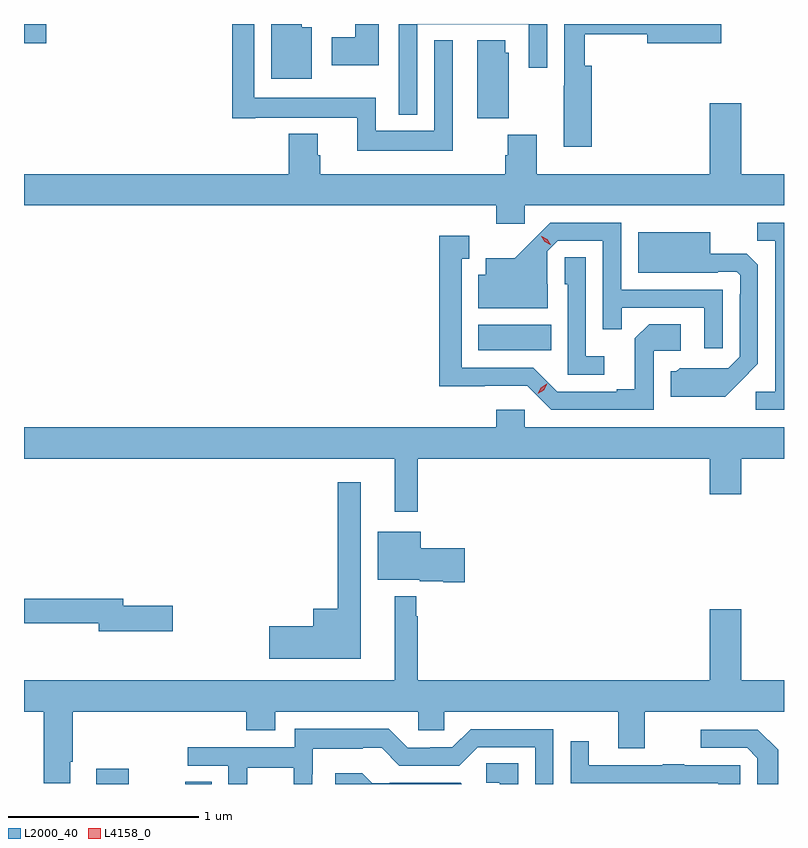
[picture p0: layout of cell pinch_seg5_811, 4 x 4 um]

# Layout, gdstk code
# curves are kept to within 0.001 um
import gdstk
lib = gdstk.Library(unit=1e-6, precision=1e-09)
def R(c, l, rs):  # rectangles x0, y0, x1, y1
    for r in rs: c.add(gdstk.rectangle(r[:2], r[2:], *l))
def P(c, l, *ps):  # polygons
    for p in ps: c.add(gdstk.Polygon(p, *l))
L2000_40 = (2000, 40)
L4158_0 = (4158, 0)

pinch_seg5_811 = lib.new_cell('pinch_seg5_811')
R(pinch_seg5_811, L2000_40, [(761.177,879.023,761.35,879.103), (761.647,879.023,761.785,879.035), (763.19,881.306,763.574,881.44), (760.798,882.923,760.915,883.023)])
P(pinch_seg5_811, L2000_40, [(762.664,883.023),(762.542,883.023),(762.542,882.954),(762.417,882.954),(762.417,882.806),(762.664,882.806)],
  [(762.867,883.022),(763.455,883.022),(763.455,882.792),(763.551,882.792),(763.551,883.023),(762.771,883.023),(762.771,882.545),(762.867,882.545)],
  [(763.787,882.802),(763.75,882.802),(763.75,882.97),(764.078,882.97),(764.078,882.923),(764.467,882.923),(764.467,883.023),(763.641,883.023),(763.641,882.698),(763.64,882.698),(763.64,882.378),(763.787,882.378)],
  [(763.054,882.937),(762.957,882.937),(762.957,882.46),(762.648,882.46),(762.648,882.634),(762.009,882.634),(762.009,883.023),(761.893,883.023),(761.893,882.528),(762.016,882.528),(762.016,882.53),(762.551,882.53),(762.551,882.356),(763.054,882.356)],
  [(762.313,883.006),(762.259,883.006),(762.259,883.023),(762.098,883.023),(762.098,882.734),(762.313,882.734)],
  [(763.348,882.873),(763.33,882.873),(763.33,882.937),(763.184,882.937),(763.184,882.526),(763.348,882.526)],
  [(763.434,882.068),(764.798,882.068),(764.798,882.232),(764.572,882.232),(764.572,882.607),(764.408,882.607),(764.408,882.232),(763.496,882.232),(763.496,882.441),(763.343,882.441),(763.343,882.332),(763.331,882.332),(763.331,882.232),(762.356,882.232),(762.356,882.333),(762.343,882.333),(762.343,882.445),(762.191,882.445),(762.191,882.232),(760.798,882.232),(760.798,882.068),(763.283,882.068),(763.283,881.973),(763.434,881.973)],
  [(764.475,881.625),(763.941,881.625),(763.941,881.976),(763.568,881.976),(763.381,881.791),(763.229,881.791),(763.229,881.704),(763.19,881.704),(763.19,881.528),(763.555,881.528),(763.555,881.652),(763.551,881.652),(763.551,881.826),(763.608,881.883),(763.845,881.883),(763.845,881.416),(763.943,881.416),(763.943,881.529),(764.379,881.529),(764.379,881.316),(764.475,881.316)],
  [(764.798,881.976),(764.656,881.976),(764.656,881.881),(764.751,881.881),(764.751,881.088),(764.649,881.088),(764.649,880.992),(764.798,880.992)],
  [(764.569,881.141),(764.661,881.234),(764.661,881.756),(764.602,881.815),(764.41,881.815),(764.41,881.926),(764.03,881.926),(764.03,881.714),(764.45,881.714),(764.45,881.718),(764.55,881.718),(764.568,881.7),(764.568,881.6),(764.565,881.6),(764.565,881.271),(764.505,881.211),(764.248,881.212),(764.232,881.196),(764.201,881.196),(764.201,881.06),(764.489,881.06)],
  [(764.112,881.304),(764.254,881.304),(764.254,881.444),(764.089,881.444),(764.013,881.368),(764.013,881.101),(763.919,881.101),(763.919,881.088),(763.605,881.088),(763.479,881.214),(763.102,881.214),(763.102,881.787),(763.141,881.787),(763.141,881.908),(762.984,881.908),(762.984,881.117),(763.446,881.118),(763.572,880.992),(764.112,880.992)],
  [(763.852,881.275),(763.755,881.275),(763.755,881.795),(763.644,881.795),(763.644,881.652),(763.659,881.652),(763.659,881.178),(763.852,881.178)],
  [(762.871,880.736),(764.408,880.736),(764.408,880.548),(764.572,880.548),(764.572,880.736),(764.798,880.736),(764.798,880.9),(763.434,880.9),(763.434,880.993),(763.283,880.993),(763.283,880.9),(760.798,880.9),(760.798,880.736),(762.749,880.736),(762.749,880.455),(762.871,880.455)],
  [(762.571,880.612),(762.45,880.612),(762.45,879.946),(762.32,879.946),(762.32,879.854),(762.09,879.854),(762.09,879.683),(762.571,879.683)],
  [(763.117,880.263),(762.886,880.263),(762.886,880.351),(762.659,880.351),(762.659,880.097),(762.882,880.097),(762.882,880.091),(763.004,880.091),(763.004,880.085),(763.117,880.085)],
  [(761.041,879.139),(761.054,879.139),(761.054,879.404),(761.969,879.404),(761.969,879.305),(762.121,879.305),(762.121,879.404),(762.873,879.404),(762.873,879.306),(763.011,879.306),(763.011,879.404),(763.925,879.404),(763.925,879.21),(764.065,879.21),(764.065,879.404),(764.798,879.404),(764.798,879.568),(764.572,879.568),(764.572,879.943),(764.408,879.943),(764.408,879.568),(762.871,879.568),(762.871,879.905),(762.863,879.905),(762.863,880.012),(762.749,880.012),(762.749,879.568),(760.798,879.568),(760.798,879.404),(760.901,879.404),(760.901,879.027),(761.041,879.027)],
  [(761.581,879.962),(761.32,879.962),(761.32,879.998),(760.798,879.998),(760.798,879.87),(761.192,879.87),(761.192,879.827),(761.581,879.827)],
  [(761.973,879.108),(762.217,879.108),(762.217,879.023),(762.316,879.023),(762.316,879.075),(762.318,879.075),(762.318,879.209),(762.581,879.209),(762.581,879.213),(762.681,879.213),(762.774,879.12),(763.089,879.12),(763.185,879.216),(763.488,879.216),(763.488,879.023),(763.584,879.023),(763.584,879.312),(763.149,879.312),(763.053,879.216),(762.935,879.216),(762.935,879.213),(762.819,879.213),(762.719,879.313),(762.222,879.313),(762.222,879.216),(761.661,879.216),(761.661,879.12),(761.874,879.12),(761.874,879.023),(761.973,879.023)],
  [(764.767,879.203),(764.661,879.309),(764.361,879.309),(764.361,879.213),(764.604,879.213),(764.658,879.159),(764.658,879.023),(764.767,879.023)],
  [(764.568,879.123),(764.273,879.123),(764.273,879.128),(764.161,879.128),(764.161,879.123),(763.771,879.123),(763.771,879.247),(763.675,879.247),(763.675,879.028),(763.777,879.028),(763.777,879.027),(764.452,879.027),(764.452,879.023),(764.568,879.023)],
  [(763.398,879.131),(763.23,879.131),(763.23,879.03),(763.302,879.03),(763.302,879.023),(763.398,879.023)],
  [(763.096,879.03),(762.724,879.03),(762.724,879.027),(762.63,879.027),(762.578,879.079),(762.435,879.079),(762.435,879.023),(763.103,879.023)])
P(pinch_seg5_811, L4158_0, [(763.569,881.861),(763.539,881.876),(763.521,881.906),(763.521,881.906),(763.522,881.906),(763.552,881.891),(763.57,881.861),(763.57,881.861)],
  [(763.502,881.076),(763.502,881.077),(763.519,881.109),(763.55,881.129),(763.551,881.129),(763.551,881.129),(763.534,881.096),(763.503,881.076)])

lib.write_gds('pinch_seg5_811.gds')
